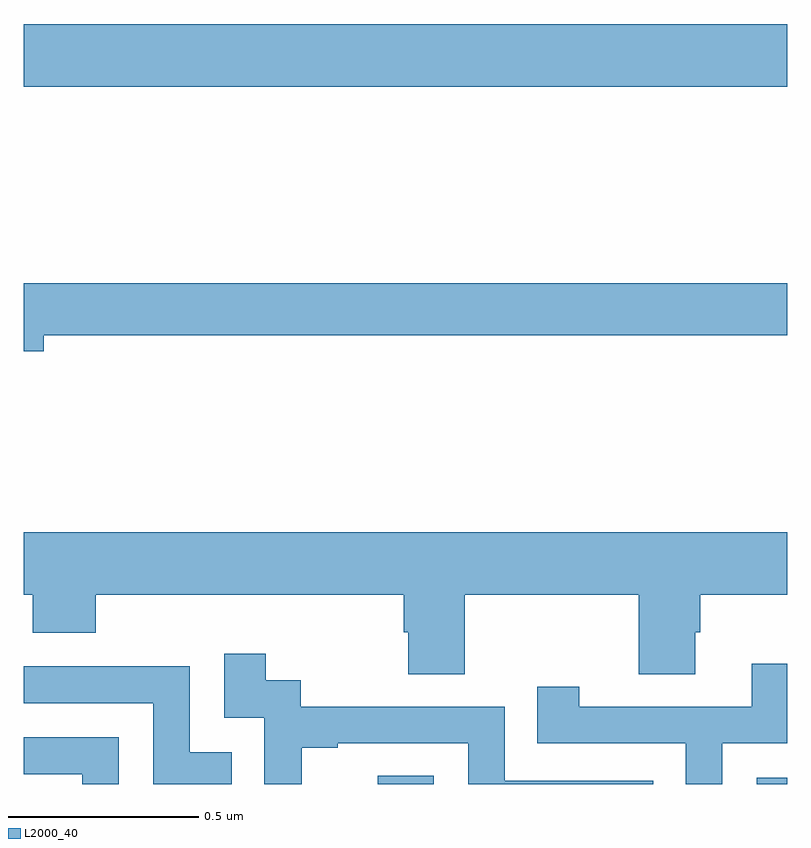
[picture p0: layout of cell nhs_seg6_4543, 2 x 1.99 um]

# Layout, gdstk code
import gdstk
lib = gdstk.Library(unit=1e-6, precision=1e-09)
def R(c, l, rs):  # rectangles x0, y0, x1, y1
    for r in rs: c.add(gdstk.rectangle(r[:2], r[2:], *l))
def P(c, l, *ps):  # polygons
    for p in ps: c.add(gdstk.Polygon(p, *l))
L2000_40 = (2000, 40)

nhs_seg6_4543 = lib.new_cell('nhs_seg6_4543')
R(nhs_seg6_4543, L2000_40, [(171.927,953.5,172.074,953.521), (172.92,953.5,173,953.517), (171,955.328,173,955.492)])
P(nhs_seg6_4543, L2000_40, [(171.052,954.676),(173,954.676),(173,954.812),(171,954.812),(171,954.634),(171.052,954.634)],
  [(172.155,953.996),(172.612,953.996),(172.612,953.788),(172.759,953.788),(172.759,953.898),(172.772,953.898),(172.772,953.996),(173,953.996),(173,954.16),(171,954.16),(171,953.996),(171.023,953.996),(171.023,953.897),(171.188,953.897),(171.188,953.996),(171.995,953.996),(171.995,953.898),(172.007,953.898),(172.007,953.788),(172.155,953.788)],
  [(171.728,953.595),(171.823,953.595),(171.823,953.607),(172.164,953.607),(172.164,953.5),(172.649,953.5),(172.649,953.508),(172.26,953.508),(172.26,953.703),(171.726,953.703),(171.726,953.772),(171.634,953.772),(171.634,953.842),(171.525,953.842),(171.525,953.673),(171.63,953.673),(171.63,953.5),(171.728,953.5)],
  [(172.83,953.607),(173,953.607),(173,953.815),(172.907,953.815),(172.907,953.703),(172.456,953.703),(172.456,953.755),(172.345,953.755),(172.345,953.607),(172.734,953.607),(172.734,953.5),(172.83,953.5)],
  [(171.545,953.583),(171.435,953.583),(171.435,953.808),(171,953.808),(171,953.712),(171.339,953.712),(171.339,953.5),(171.545,953.5)],
  [(171.249,953.622),(171,953.622),(171,953.526),(171.153,953.526),(171.153,953.5),(171.249,953.5)])

lib.write_gds('nhs_seg6_4543.gds')
